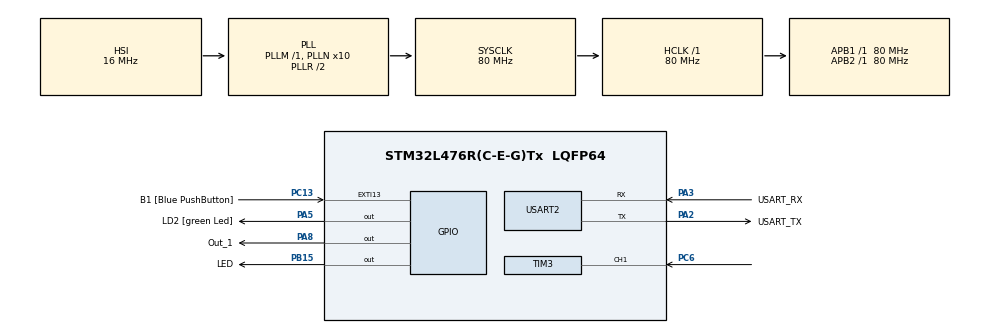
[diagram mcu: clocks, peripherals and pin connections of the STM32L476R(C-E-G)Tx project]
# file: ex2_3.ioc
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Mcu.Family=STM32L4
Mcu.Name=STM32L476R(C-E-G)Tx
Mcu.Package=LQFP64
NVIC.PriorityGroup=NVIC_PRIORITYGROUP_4
NVIC.TIM3_IRQn=true\:0\:0\:false\:false\:true\:true\:true
NVIC.USART2_IRQn=true\:0\:0\:false\:false\:true\:true\:true
PA13\ (JTMS-SWDIO).GPIO_Label=TMS
PA13\ (JTMS-SWDIO).Mode=Serial_Wire
PA13\ (JTMS-SWDIO).Signal=SYS_JTMS-SWDIO
PA14\ (JTCK-SWCLK).GPIO_Label=TCK
PA14\ (JTCK-SWCLK).Mode=Serial_Wire
PA14\ (JTCK-SWCLK).Signal=SYS_JTCK-SWCLK
PA2.GPIO_Label=USART_TX
PA2.GPIO_Mode=GPIO_MODE_AF_PP
PA2.GPIO_PuPd=GPIO_NOPULL
PA2.GPIO_Speed=GPIO_SPEED_FREQ_VERY_HIGH
PA2.Mode=Asynchronous
PA2.Signal=USART2_TX
PA3.GPIO_Label=USART_RX
PA3.GPIO_Mode=GPIO_MODE_AF_PP
PA3.GPIO_PuPd=GPIO_NOPULL
PA3.GPIO_Speed=GPIO_SPEED_FREQ_VERY_HIGH
PA3.Mode=Asynchronous
PA3.Signal=USART2_RX
PA5.GPIO_Label=LD2 [green Led]
PA5.GPIO_ModeDefaultOutputPP=GPIO_MODE_OUTPUT_PP
PA5.GPIO_PuPd=GPIO_NOPULL
PA5.GPIO_Speed=GPIO_SPEED_FREQ_LOW
PA5.Signal=GPIO_Output
PA8.GPIO_Label=Out_1
PA8.Signal=GPIO_Output
PB15.GPIO_Label=LED
PB15.Signal=GPIO_Output
PB3\ (JTDO-TRACESWO).GPIO_Label=SWO
PB3\ (JTDO-TRACESWO).Signal=SYS_JTDO-SWO
PC13.GPIO_Label=B1 [Blue PushButton]
PC13.GPIO_ModeDefaultEXTI=GPIO_MODE_IT_FALLING
PC13.GPIO_PuPd=GPIO_NOPULL
PC13.Signal=GPXTI13
PC14-OSC32_IN\ (PC14).Mode=LSE-External-Oscillator
PC14-OSC32_IN\ (PC14).Signal=RCC_OSC32_IN
PC15-OSC32_OUT\ (PC15).Mode=LSE-External-Oscillator
PC15-OSC32_OUT\ (PC15).Signal=RCC_OSC32_OUT
PC6.Signal=S_TIM3_CH1
PH0-OSC_IN\ (PH0).Signal=RCC_OSC_IN
PH1-OSC_OUT\ (PH1).Signal=RCC_OSC_OUT
ProjectManager.HeapSize=0x200
ProjectManager.StackSize=0x400
ProjectManager.TargetToolchain=STM32CubeIDE
RCC.ADCFreq_Value=64000000
RCC.AHBFreq_Value=80000000
RCC.APB1Freq_Value=80000000
RCC.APB1TimFreq_Value=80000000
RCC.APB2Freq_Value=80000000
RCC.APB2TimFreq_Value=80000000
RCC.CortexFreq_Value=80000000
RCC.HCLKFreq_Value=80000000
RCC.HSE_VALUE=8000000
RCC.HSI_VALUE=16000000
RCC.MSI_VALUE=4000000
RCC.PLLN=10
RCC.PLLSourceVirtual=RCC_PLLSOURCE_HSI
RCC.PREFETCH_ENABLE=1
RCC.SYSCLKFreq_VALUE=80000000
RCC.SYSCLKSource=RCC_SYSCLKSOURCE_PLLCLK
RCC.USBFreq_Value=64000000
RCC.VCOOutputFreq_Value=160000000
SH.S_TIM3_CH1.0=TIM3_CH1,Input_Capture1_from_TI1
TIM3.Channel-Input_Capture1_from_TI1=TIM_CHANNEL_1
TIM3.ICPolarity_CH1=TIM_INPUTCHANNELPOLARITY_BOTHEDGE
TIM3.Prescaler=31999
USART2.VirtualMode-Asynchronous=VM_ASYNC
board=NUCLEO-L476RG

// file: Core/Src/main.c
/* USER CODE BEGIN Header */
/**
  ******************************************************************************
  * @file           : main.c
  * @brief          : Main program body
  ******************************************************************************
  * @attention
  *
  * <h2><center>&copy; Copyright (c) 2021 STMicroelectronics.
  * All rights reserved.</center></h2>
  *
  * This software component is licensed by ST under BSD 3-Clause license,
  * the "License"; You may not use this file except in compliance with the
  * License. You may obtain a copy of the License at:
  *                        opensource.org/licenses/BSD-3-Clause
  *
  ******************************************************************************
  */
/* USER CODE END Header */
#include "main.h"
#include "tim.h"
#include "usart.h"
#include "gpio.h"

/* USER CODE BEGIN Includes */

#include <stdio.h>
/* USER CODE END Includes */

/* USER CODE BEGIN PV */
uint8_t Received;
volatile int flag;
volatile int flag2;
volatile int period;
/* USER CODE END PV */

void SystemClock_Config(void);
/* USER CODE BEGIN PFP */
int _write(int file, char *ptr, int len){
	HAL_UART_Transmit_IT(&huart2, ptr, len);
	return len;
}
void HAL_UART_RxCpltCallback(UART_HandleTypeDef *huart) {

		switch(Received){
		case 'z':
			flag=1;
			break;
		default:
			flag=0;
			break;
		}
		 HAL_UART_Receive_IT(&huart2, &Received, 1);
}
void HAL_TIM_IC_CaptureCallback(TIM_HandleTypeDef * htim){
	if(htim == &htim3){
		if(htim->Channel == HAL_TIM_ACTIVE_CHANNEL_1){
			period =__HAL_TIM_GET_COMPARE(&htim3, TIM_CHANNEL_1);
			__HAL_TIM_SET_COUNTER(&htim3,0);
			flag2=1;
		}
	}
}
/* USER CODE END PFP */

int main(void)
{

  /* MCU Configuration--------------------------------------------------------*/

  /* Reset of all peripherals, Initializes the Flash interface and the Systick. */
  HAL_Init();

  /* Configure the system clock */
  SystemClock_Config();

  /* Initialize all configured peripherals */
  MX_GPIO_Init();
  MX_USART2_UART_Init();
  MX_TIM3_Init();
  /* USER CODE BEGIN 2 */
  flag=0;
  flag2=0;
  HAL_TIM_IC_Start_IT(&htim3, TIM_CHANNEL_1);
  HAL_UART_Receive_IT(&huart2, &Received, 1);
  /* USER CODE END 2 */

  /* Infinite loop */
  /* USER CODE BEGIN WHILE */
  while (1)
  {
	  if(flag == 1){
		  HAL_GPIO_TogglePin(Out_1_GPIO_Port, Out_1_Pin);
		  HAL_GPIO_TogglePin(LED_GPIO_Port, LED_Pin);
		  printf("zmiana statusu wyjscia \r\n");
		  flag=0;
	  }
	  HAL_Delay(10);
	  if(flag2==1){
		  printf("czas zmainy %d [us] \r\n", period/2500);
		  flag2=0;

	  }
	  HAL_Delay(10);
    /* USER CODE END WHILE */

  }
}

void SystemClock_Config(void)
{
  RCC_OscInitTypeDef RCC_OscInitStruct = {0};
  RCC_ClkInitTypeDef RCC_ClkInitStruct = {0};
  RCC_PeriphCLKInitTypeDef PeriphClkInit = {0};

  /** Initializes the RCC Oscillators according to the specified parameters
  * in the RCC_OscInitTypeDef structure.
  */
  RCC_OscInitStruct.OscillatorType = RCC_OSCILLATORTYPE_HSI;
  RCC_OscInitStruct.HSIState = RCC_HSI_ON;
  RCC_OscInitStruct.HSICalibrationValue = RCC_HSICALIBRATION_DEFAULT;
  RCC_OscInitStruct.PLL.PLLState = RCC_PLL_ON;
  RCC_OscInitStruct.PLL.PLLSource = RCC_PLLSOURCE_HSI;
  RCC_OscInitStruct.PLL.PLLM = 1;
  RCC_OscInitStruct.PLL.PLLN = 10;
  RCC_OscInitStruct.PLL.PLLP = RCC_PLLP_DIV7;
  RCC_OscInitStruct.PLL.PLLQ = RCC_PLLQ_DIV2;
  RCC_OscInitStruct.PLL.PLLR = RCC_PLLR_DIV2;
  if (HAL_RCC_OscConfig(&RCC_OscInitStruct) != HAL_OK)
  {
    Error_Handler();
  }
  /** Initializes the CPU, AHB and APB buses clocks
  */
  RCC_ClkInitStruct.ClockType = RCC_CLOCKTYPE_HCLK|RCC_CLOCKTYPE_SYSCLK
                              |RCC_CLOCKTYPE_PCLK1|RCC_CLOCKTYPE_PCLK2;
  RCC_ClkInitStruct.SYSCLKSource = RCC_SYSCLKSOURCE_PLLCLK;
  RCC_ClkInitStruct.AHBCLKDivider = RCC_SYSCLK_DIV1;
  RCC_ClkInitStruct.APB1CLKDivider = RCC_HCLK_DIV1;
  RCC_ClkInitStruct.APB2CLKDivider = RCC_HCLK_DIV1;

  if (HAL_RCC_ClockConfig(&RCC_ClkInitStruct, FLASH_LATENCY_4) != HAL_OK)
  {
    Error_Handler();
  }
  PeriphClkInit.PeriphClockSelection = RCC_PERIPHCLK_USART2;
  PeriphClkInit.Usart2ClockSelection = RCC_USART2CLKSOURCE_PCLK1;
  if (HAL_RCCEx_PeriphCLKConfig(&PeriphClkInit) != HAL_OK)
  {
    Error_Handler();
  }
  /** Configure the main internal regulator output voltage
  */
  if (HAL_PWREx_ControlVoltageScaling(PWR_REGULATOR_VOLTAGE_SCALE1) != HAL_OK)
  {
    Error_Handler();
  }
}

void Error_Handler(void)
{
}

/************************ (C) COPYRIGHT STMicroelectronics *****END OF FILE****/
